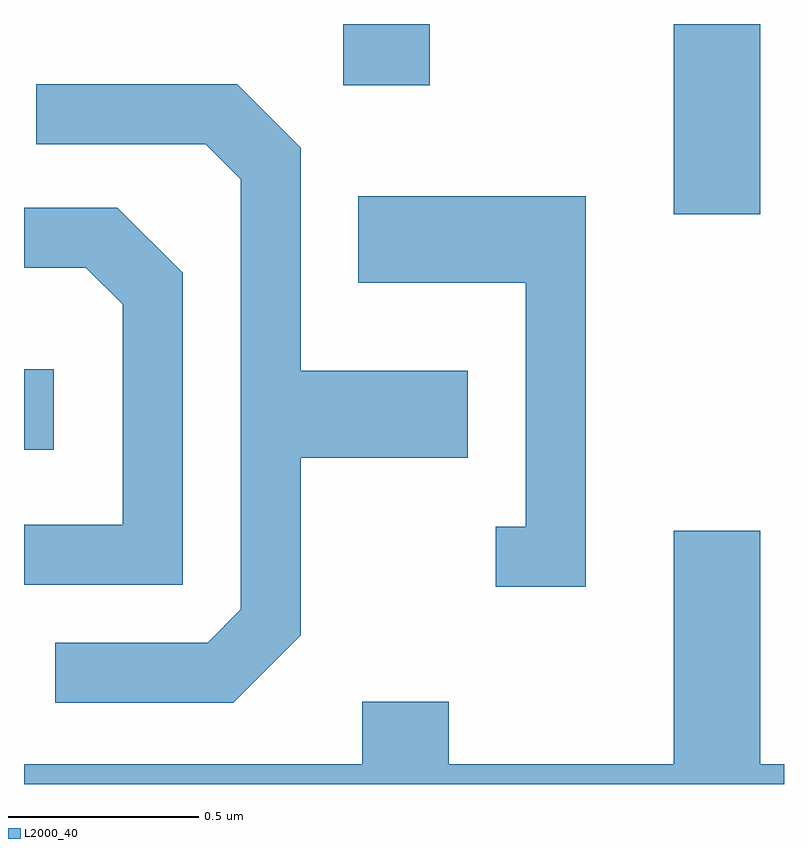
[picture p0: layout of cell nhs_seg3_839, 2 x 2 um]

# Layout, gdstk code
import gdstk
lib = gdstk.Library(unit=1e-6, precision=1e-09)
def R(c, l, rs):  # rectangles x0, y0, x1, y1
    for r in rs: c.add(gdstk.rectangle(r[:2], r[2:], *l))
def P(c, l, *ps):  # polygons
    for p in ps: c.add(gdstk.Polygon(p, *l))
L2000_40 = (2000, 40)

nhs_seg3_839 = lib.new_cell('nhs_seg3_839')
R(nhs_seg3_839, L2000_40, [(191.611,1133.771,191.689,1133.984), (193.321,1134.391,193.549,1134.892), (192.451,1134.731,192.679,1134.892)])
P(nhs_seg3_839, L2000_40, [(192.339,1133.284),(192.339,1133.751),(192.779,1133.751),(192.779,1133.979),(192.339,1133.979),(192.339,1134.567),(192.172,1134.734),(191.643,1134.734),(191.643,1134.576),(192.089,1134.576),(192.181,1134.484),(192.181,1133.352),(192.094,1133.264),(191.693,1133.264),(191.693,1133.106),(192.162,1133.106)],
  [(193.089,1134.439),(192.491,1134.439),(192.491,1134.211),(192.931,1134.211),(192.931,1133.569),(192.853,1133.569),(192.853,1133.411),(193.089,1133.411)],
  [(192.029,1134.237),(191.857,1134.409),(191.611,1134.409),(191.611,1134.251),(191.774,1134.251),(191.871,1134.154),(191.871,1133.574),(191.611,1133.574),(191.611,1133.416),(192.029,1133.416)],
  [(193.611,1132.944),(193.549,1132.944),(193.549,1133.559),(193.321,1133.559),(193.321,1132.944),(192.729,1132.944),(192.729,1133.109),(192.501,1133.109),(192.501,1132.944),(191.611,1132.944),(191.611,1132.892),(193.611,1132.892)])

lib.write_gds('nhs_seg3_839.gds')
